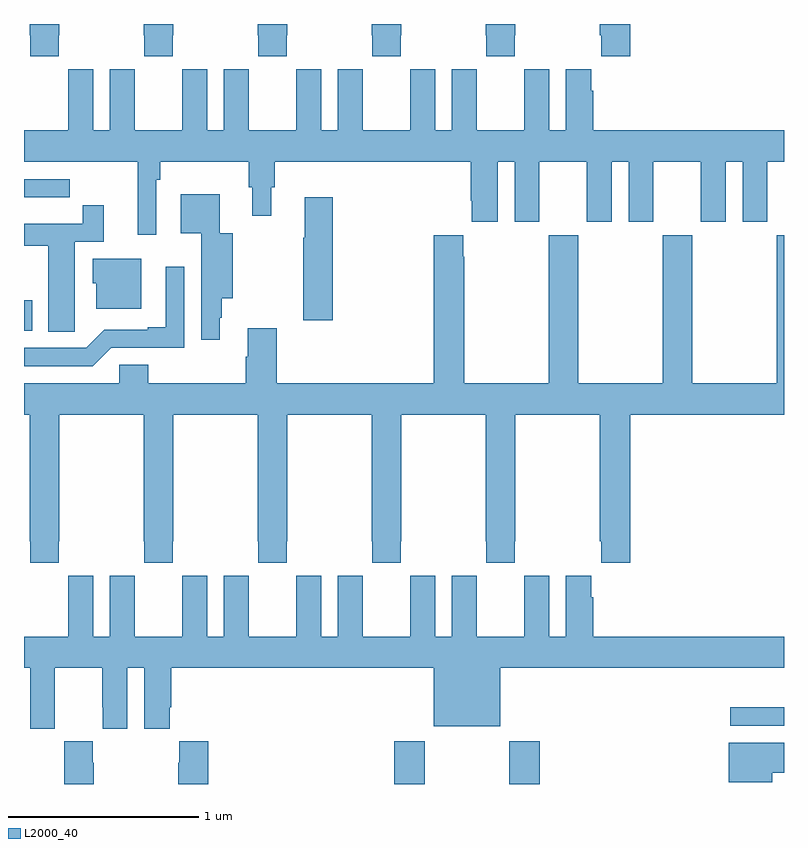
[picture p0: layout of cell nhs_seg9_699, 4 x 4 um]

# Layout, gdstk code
import gdstk
lib = gdstk.Library(unit=1e-6, precision=1e-09)
def R(c, l, rs):  # rectangles x0, y0, x1, y1
    for r in rs: c.add(gdstk.rectangle(r[:2], r[2:], *l))
def P(c, l, *ps):  # polygons
    for p in ps: c.add(gdstk.Polygon(p, *l))
L2000_40 = (2000, 40)

nhs_seg9_699 = lib.new_cell('nhs_seg9_699')
R(nhs_seg9_699, L2000_40, [(148.949,1170.5,149.109,1170.724), (149.554,1170.5,149.714,1170.724), (150.717,1170.807,151,1170.903), (147,1172.885,147.043,1173.045)])
P(nhs_seg9_699, L2000_40, [(147.783,1174.441),(147.786,1174.441),(147.786,1174.5),(147.631,1174.5),(147.631,1174.441),(147.633,1174.441),(147.633,1174.329),(147.783,1174.329)],
  [(148.383,1174.441),(148.386,1174.441),(148.386,1174.5),(148.231,1174.5),(148.231,1174.441),(148.233,1174.441),(148.233,1174.329),(148.383,1174.329)],
  [(148.983,1174.441),(148.986,1174.441),(148.986,1174.5),(148.831,1174.5),(148.831,1174.441),(148.833,1174.441),(148.833,1174.329),(148.983,1174.329)],
  [(149.583,1174.441),(149.586,1174.441),(149.586,1174.5),(149.431,1174.5),(149.431,1174.441),(149.433,1174.441),(149.433,1174.329),(149.583,1174.329)],
  [(150.191,1174.5),(150.031,1174.5),(150.031,1174.441),(150.037,1174.441),(150.037,1174.329),(150.191,1174.329)],
  [(147.183,1174.441),(147.186,1174.441),(147.186,1174.5),(147.031,1174.5),(147.031,1174.441),(147.033,1174.441),(147.033,1174.329),(147.183,1174.329)],
  [(149.351,1173.571),(149.357,1173.571),(149.357,1173.459),(149.494,1173.459),(149.494,1173.776),(149.582,1173.776),(149.582,1173.459),(149.713,1173.459),(149.713,1173.776),(149.963,1173.776),(149.963,1173.459),(150.094,1173.459),(150.094,1173.776),(150.182,1173.776),(150.182,1173.459),(150.313,1173.459),(150.313,1173.776),(150.563,1173.776),(150.563,1173.459),(150.694,1173.459),(150.694,1173.776),(150.782,1173.776),(150.782,1173.459),(150.913,1173.459),(150.913,1173.776),(151,1173.776),(151,1173.94),(149.996,1173.94),(149.996,1174.148),(149.986,1174.148),(149.986,1174.261),(149.852,1174.261),(149.852,1173.94),(149.764,1173.94),(149.764,1174.261),(149.634,1174.261),(149.634,1174.148),(149.633,1174.148),(149.633,1173.94),(149.383,1173.94),(149.383,1174.148),(149.382,1174.148),(149.382,1174.261),(149.252,1174.261),(149.252,1173.94),(149.164,1173.94),(149.164,1174.261),(149.034,1174.261),(149.034,1174.148),(149.033,1174.148),(149.033,1173.94),(148.783,1173.94),(148.783,1174.148),(148.782,1174.148),(148.782,1174.261),(148.652,1174.261),(148.652,1173.94),(148.564,1173.94),(148.564,1174.261),(148.434,1174.261),(148.434,1174.148),(148.433,1174.148),(148.433,1173.94),(148.183,1173.94),(148.183,1174.148),(148.182,1174.148),(148.182,1174.261),(148.052,1174.261),(148.052,1173.94),(147.964,1173.94),(147.964,1174.261),(147.834,1174.261),(147.834,1174.148),(147.833,1174.148),(147.833,1173.94),(147.583,1173.94),(147.583,1174.148),(147.582,1174.148),(147.582,1174.261),(147.452,1174.261),(147.452,1173.94),(147.364,1173.94),(147.364,1174.261),(147.234,1174.261),(147.234,1174.148),(147.233,1174.148),(147.233,1173.94),(147,1173.94),(147,1173.776),(147.599,1173.776),(147.599,1173.39),(147.696,1173.39),(147.696,1173.68),(147.716,1173.68),(147.716,1173.776),(148.183,1173.776),(148.183,1173.642),(148.202,1173.642),(148.202,1173.492),(148.3,1173.492),(148.3,1173.642),(148.319,1173.642),(148.319,1173.776),(149.351,1173.776)],
  [(147.128,1173.588),(147.241,1173.588),(147.241,1173.684),(147,1173.684),(147,1173.587),(147.128,1173.587)],
  [(148.03,1172.955),(148.042,1172.955),(148.042,1173.056),(148.098,1173.056),(148.098,1173.4),(148.03,1173.4),(148.03,1173.604),(147.824,1173.604),(147.824,1173.398),(147.932,1173.398),(147.932,1173.16),(147.933,1173.16),(147.933,1172.838),(148.03,1172.838)],
  [(148.625,1173.589),(148.478,1173.589),(148.478,1173.376),(148.471,1173.376),(148.471,1172.94),(148.625,1172.94)],
  [(147.267,1172.992),(147.268,1172.992),(147.268,1173.354),(147.419,1173.354),(147.419,1173.547),(147.31,1173.547),(147.31,1173.45),(147,1173.45),(147,1173.334),(147.128,1173.334),(147.128,1172.881),(147.267,1172.881)],
  [(147.183,1171.777),(147.186,1171.777),(147.186,1172.444),(147.631,1172.444),(147.631,1171.777),(147.633,1171.777),(147.633,1171.665),(147.783,1171.665),(147.783,1171.777),(147.786,1171.777),(147.786,1172.444),(148.231,1172.444),(148.231,1171.777),(148.233,1171.777),(148.233,1171.665),(148.383,1171.665),(148.383,1171.777),(148.386,1171.777),(148.386,1172.444),(148.831,1172.444),(148.831,1171.777),(148.833,1171.777),(148.833,1171.665),(148.983,1171.665),(148.983,1171.777),(148.986,1171.777),(148.986,1172.444),(149.431,1172.444),(149.431,1171.777),(149.433,1171.777),(149.433,1171.665),(149.583,1171.665),(149.583,1171.777),(149.586,1171.777),(149.586,1172.444),(150.031,1172.444),(150.031,1171.777),(150.037,1171.777),(150.037,1171.665),(150.191,1171.665),(150.191,1172.444),(151,1172.444),(151,1173.388),(150.961,1173.388),(150.961,1172.608),(150.516,1172.608),(150.516,1173.388),(150.361,1173.388),(150.361,1172.608),(149.916,1172.608),(149.916,1173.388),(149.761,1173.388),(149.761,1172.608),(149.316,1172.608),(149.316,1173.275),(149.311,1173.275),(149.311,1173.388),(149.156,1173.388),(149.156,1172.608),(148.331,1172.608),(148.331,1172.899),(148.178,1172.899),(148.178,1172.75),(148.166,1172.75),(148.166,1172.608),(147.653,1172.608),(147.653,1172.706),(147.501,1172.706),(147.501,1172.608),(147,1172.608),(147,1172.444),(147.031,1172.444),(147.031,1171.777),(147.033,1171.777),(147.033,1171.665),(147.183,1171.665)],
  [(147.616,1173.265),(147.362,1173.265),(147.362,1173.135),(147.38,1173.135),(147.38,1173.002),(147.616,1173.002)],
  [(147.459,1172.796),(147.843,1172.796),(147.843,1173.223),(147.746,1173.223),(147.746,1172.905),(147.65,1172.905),(147.65,1172.892),(147.423,1172.892),(147.327,1172.796),(147,1172.796),(147,1172.7),(147.363,1172.7)],
  [(147.162,1170.904),(147.163,1170.904),(147.163,1171.112),(147.413,1171.112),(147.413,1170.904),(147.414,1170.904),(147.414,1170.792),(147.544,1170.792),(147.544,1171.112),(147.632,1171.112),(147.632,1170.792),(147.766,1170.792),(147.766,1170.904),(147.776,1170.904),(147.776,1171.112),(149.156,1171.112),(149.156,1170.803),(149.506,1170.803),(149.506,1171.112),(151,1171.112),(151,1171.276),(149.996,1171.276),(149.996,1171.484),(149.986,1171.484),(149.986,1171.597),(149.852,1171.597),(149.852,1171.276),(149.764,1171.276),(149.764,1171.597),(149.634,1171.597),(149.634,1171.484),(149.633,1171.484),(149.633,1171.276),(149.383,1171.276),(149.383,1171.484),(149.382,1171.484),(149.382,1171.597),(149.252,1171.597),(149.252,1171.276),(149.164,1171.276),(149.164,1171.597),(149.034,1171.597),(149.034,1171.484),(149.033,1171.484),(149.033,1171.276),(148.783,1171.276),(148.783,1171.484),(148.782,1171.484),(148.782,1171.597),(148.652,1171.597),(148.652,1171.276),(148.564,1171.276),(148.564,1171.597),(148.434,1171.597),(148.434,1171.484),(148.433,1171.484),(148.433,1171.276),(148.183,1171.276),(148.183,1171.484),(148.182,1171.484),(148.182,1171.597),(148.052,1171.597),(148.052,1171.276),(147.964,1171.276),(147.964,1171.597),(147.834,1171.597),(147.834,1171.484),(147.833,1171.484),(147.833,1171.276),(147.583,1171.276),(147.583,1171.484),(147.582,1171.484),(147.582,1171.597),(147.452,1171.597),(147.452,1171.276),(147.364,1171.276),(147.364,1171.597),(147.234,1171.597),(147.234,1171.484),(147.233,1171.484),(147.233,1171.276),(147,1171.276),(147,1171.112),(147.032,1171.112),(147.032,1170.792),(147.162,1170.792)],
  [(147.366,1170.611),(147.363,1170.611),(147.363,1170.724),(147.213,1170.724),(147.213,1170.611),(147.211,1170.611),(147.211,1170.5),(147.366,1170.5)],
  [(147.971,1170.724),(147.817,1170.724),(147.817,1170.611),(147.811,1170.611),(147.811,1170.5),(147.971,1170.5)],
  [(150.937,1170.56),(151,1170.56),(151,1170.718),(150.71,1170.718),(150.71,1170.509),(150.937,1170.509)])

lib.write_gds('nhs_seg9_699.gds')
